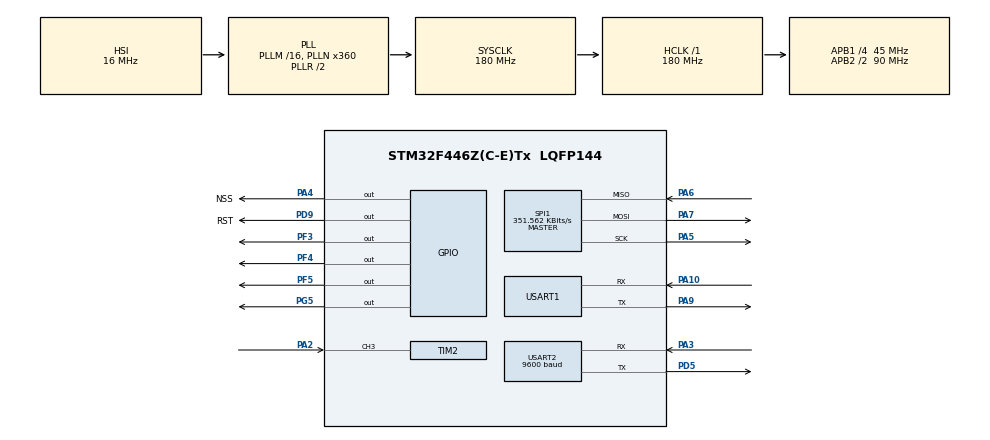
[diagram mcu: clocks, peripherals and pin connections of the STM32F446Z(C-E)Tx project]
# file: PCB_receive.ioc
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Dma.Request0=USART2_RX
Dma.Request1=USART1_TX
Dma.USART1_TX.1.Direction=DMA_MEMORY_TO_PERIPH
Dma.USART1_TX.1.FIFOMode=DMA_FIFOMODE_DISABLE
Dma.USART1_TX.1.Instance=DMA2_Stream7
Dma.USART1_TX.1.MemDataAlignment=DMA_MDATAALIGN_BYTE
Dma.USART1_TX.1.MemInc=DMA_MINC_ENABLE
Dma.USART1_TX.1.Mode=DMA_NORMAL
Dma.USART1_TX.1.PeriphDataAlignment=DMA_PDATAALIGN_BYTE
Dma.USART1_TX.1.PeriphInc=DMA_PINC_DISABLE
Dma.USART1_TX.1.Priority=DMA_PRIORITY_LOW
Dma.USART2_RX.0.Direction=DMA_PERIPH_TO_MEMORY
Dma.USART2_RX.0.FIFOMode=DMA_FIFOMODE_DISABLE
Dma.USART2_RX.0.Instance=DMA1_Stream5
Dma.USART2_RX.0.MemDataAlignment=DMA_MDATAALIGN_BYTE
Dma.USART2_RX.0.MemInc=DMA_MINC_ENABLE
Dma.USART2_RX.0.Mode=DMA_NORMAL
Dma.USART2_RX.0.PeriphDataAlignment=DMA_PDATAALIGN_BYTE
Dma.USART2_RX.0.PeriphInc=DMA_PINC_DISABLE
Dma.USART2_RX.0.Priority=DMA_PRIORITY_HIGH
Mcu.Family=STM32F4
Mcu.Name=STM32F446Z(C-E)Tx
Mcu.Package=LQFP144
NVIC.DMA1_Stream5_IRQn=true\:0\:0\:false\:false\:true\:false\:true\:true
NVIC.DMA2_Stream7_IRQn=true\:0\:0\:false\:false\:true\:false\:true\:true
NVIC.PriorityGroup=NVIC_PRIORITYGROUP_4
NVIC.TIM2_IRQn=true\:0\:0\:false\:false\:true\:true\:true\:true
NVIC.USART2_IRQn=true\:0\:0\:false\:false\:true\:true\:true\:true
PA10.Mode=Asynchronous
PA10.Signal=USART1_RX
PA13.Mode=Serial_Wire
PA13.Signal=SYS_JTMS-SWDIO
PA14.Mode=Serial_Wire
PA14.Signal=SYS_JTCK-SWCLK
PA2.Signal=S_TIM2_CH3
PA3.Mode=Asynchronous
PA3.Signal=USART2_RX
PA4.GPIO_Label=NSS
PA4.Signal=GPIO_Output
PA5.Mode=Full_Duplex_Master
PA5.Signal=SPI1_SCK
PA6.Mode=Full_Duplex_Master
PA6.Signal=SPI1_MISO
PA7.Mode=Full_Duplex_Master
PA7.Signal=SPI1_MOSI
PA9.Mode=Asynchronous
PA9.Signal=USART1_TX
PC14-OSC32_IN.Mode=LSE-External-Oscillator
PC14-OSC32_IN.Signal=RCC_OSC32_IN
PC15-OSC32_OUT.Mode=LSE-External-Oscillator
PC15-OSC32_OUT.Signal=RCC_OSC32_OUT
PD5.Mode=Asynchronous
PD5.Signal=USART2_TX
PD9.GPIO_Label=RST
PD9.Signal=GPIO_Output
PF3.Signal=GPIO_Output
PF4.Signal=GPIO_Output
PF5.Signal=GPIO_Output
PG5.Signal=GPIO_Output
PH0-OSC_IN.Mode=HSE-External-Oscillator
PH0-OSC_IN.Signal=RCC_OSC_IN
PH1-OSC_OUT.Mode=HSE-External-Oscillator
PH1-OSC_OUT.Signal=RCC_OSC_OUT
ProjectManager.HeapSize=0x200
ProjectManager.StackSize=0x400
ProjectManager.TargetToolchain=STM32CubeIDE
RCC.AHBFreq_Value=180000000
RCC.APB1CLKDivider=RCC_HCLK_DIV4
RCC.APB1Freq_Value=45000000
RCC.APB1TimFreq_Value=90000000
RCC.APB2CLKDivider=RCC_HCLK_DIV2
RCC.APB2Freq_Value=90000000
RCC.APB2TimFreq_Value=180000000
RCC.CortexFreq_Value=180000000
RCC.HCLKFreq_Value=180000000
RCC.HSE_VALUE=25000000
RCC.PLLN=360
RCC.PLLP=RCC_PLLP_DIV4
RCC.SYSCLKFreq_VALUE=180000000
RCC.SYSCLKSource=RCC_SYSCLKSOURCE_PLLRCLK
RCC.USBFreq_Value=180000000
RCC.VCOOutputFreq_Value=360000000
SH.S_TIM2_CH3.0=TIM2_CH3,Input_Capture3_from_TI3
SPI1.BaudRatePrescaler=SPI_BAUDRATEPRESCALER_256
SPI1.CalculateBaudRate=351.562 KBits/s
SPI1.Direction=SPI_DIRECTION_2LINES
SPI1.Mode=SPI_MODE_MASTER
SPI1.VirtualType=VM_MASTER
TIM2.Channel-Input_Capture3_from_TI3=TIM_CHANNEL_3
USART1.VirtualMode=VM_ASYNC
USART2.BaudRate=9600
USART2.VirtualMode=VM_ASYNC
board=custom

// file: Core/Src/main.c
/* USER CODE BEGIN Header */
/**
  ******************************************************************************
  * @file           : main.c
  * @brief          : Main program body
  ******************************************************************************
  * @attention
  *
  * Copyright (c) 2022 STMicroelectronics.
  * All rights reserved.
  *
  * This software is licensed under terms that can be found in the LICENSE file
  * in the root directory of this software component.
  * If no LICENSE file comes with this software, it is provided AS-IS.
  *
  ******************************************************************************
  */
/* USER CODE END Header */
#include "main.h"

/* USER CODE BEGIN Includes */
#include <stdio.h>
#include <stdlib.h>
#include <string.h>
#include "lora_sx1276.h"
/* USER CODE END Includes */

SPI_HandleTypeDef hspi1;

TIM_HandleTypeDef htim2;

UART_HandleTypeDef huart1;
UART_HandleTypeDef huart2;
DMA_HandleTypeDef hdma_usart1_tx;
DMA_HandleTypeDef hdma_usart2_rx;

/* USER CODE BEGIN PV */
uint8_t GPS_buffer[2048];
char buffStr[2048];
char nmeaSnt[80];
uint8_t GPS_latest_data[65];
int GPSidxint = 0;
int GPS_ready = 0;
uint32_t startGPSPadding = 0xACACACAC;
uint32_t endGPSPadding = 0xADADADAD;
/* USER CODE END PV */

void SystemClock_Config(void);
static void MX_GPIO_Init(void);
static void MX_SPI1_Init(void);
static void MX_TIM2_Init(void);
static void MX_DMA_Init(void);
static void MX_USART2_UART_Init(void);
static void MX_USART1_UART_Init(void);

/* USER CODE BEGIN 0 */
uint8_t iterfacing_success[] = "Interfacing SUCCESS";
uint8_t iterfacing_failed[] = "Interfacing FAILED";

void HAL_UART_RxCpltCallback(UART_HandleTypeDef *huart)
{
	if (huart == &huart2){
		char *string;
		memset(buffStr, 0, 2048);
		sprintf(buffStr, "%s", GPS_buffer);
		string = strdup(buffStr);

		char* token;
		while ((token = strsep(&string, "\n")) != NULL) {
			memset(nmeaSnt, 0, 80);
			sprintf(nmeaSnt, "%s\n\r", token);
			if ((strstr(nmeaSnt, "$GPGLL") != 0) && strlen(nmeaSnt) > 48 && strlen(nmeaSnt) < 65) {
				//Raw Data
				char* GPSidx = strchr(nmeaSnt, '\n');
				if (GPSidx){
					GPSidxint = GPSidx-nmeaSnt;
				}
				memset(GPS_latest_data, 0, 65);
				memcpy(GPS_latest_data, nmeaSnt, GPSidxint);
				HAL_GPIO_WritePin(GPIOF, GPIO_PIN_4, GPIO_PIN_RESET);
				GPS_ready = 1;

			}
		}
		HAL_UART_Receive_DMA(&huart2, GPS_buffer, 2048);
	}
}
/* USER CODE END 0 */

int main(void)
{

  /* MCU Configuration--------------------------------------------------------*/

  /* Reset of all peripherals, Initializes the Flash interface and the Systick. */
  HAL_Init();

  /* Configure the system clock */
  SystemClock_Config();

  /* Initialize all configured peripherals */
  MX_GPIO_Init();
  MX_SPI1_Init();
  MX_TIM2_Init();
  MX_DMA_Init();
  MX_USART2_UART_Init();
  MX_USART1_UART_Init();
  /* USER CODE BEGIN 2 */
  HAL_GPIO_WritePin(GPIOF, GPIO_PIN_4, GPIO_PIN_SET);
  HAL_GPIO_WritePin(GPIOF, GPIO_PIN_3, GPIO_PIN_SET);
  HAL_UART_Receive_DMA(&huart2, GPS_buffer, 2048);

  HAL_GPIO_WritePin(RST_GPIO_Port, RST_Pin, GPIO_PIN_RESET);
  HAL_Delay(100);
  HAL_GPIO_WritePin(RST_GPIO_Port, RST_Pin, GPIO_PIN_SET);
  lora_sx1276 lora;

  uint8_t res = lora_init(&lora, &hspi1, NSS_GPIO_Port, NSS_Pin, LORA_BASE_FREQUENCY_US);
  if (res != LORA_OK) {
	  HAL_UART_Transmit(&huart1, iterfacing_failed, sizeof(iterfacing_failed), 1000);
  }
  // Receive buffer
  uint8_t buffer[255];
  // Put LoRa modem into continuous receive mode
  lora_mode_receive_continuous(&lora);
  // Wait for packet up to 4 sec

  while (!GPS_ready);
  uint8_t GPS_data_len = (uint8_t) GPSidxint;
  uint8_t metaData[8+GPS_data_len];
  memcpy(metaData, &startGPSPadding, 4);
  memcpy(metaData+4, GPS_latest_data, GPS_data_len);
  memcpy(metaData+4+GPS_data_len, &endGPSPadding, 4);
  HAL_UART_Transmit(&huart1, metaData, 8+GPS_data_len, 1000);
  /* USER CODE END 2 */

  /* Infinite loop */
  /* USER CODE BEGIN WHILE */
  while (1)
  {
	  uint8_t len = lora_receive_packet_blocking(&lora, buffer, sizeof(buffer), 4000, &res);
	  if (res == LORA_OK) {
		  HAL_UART_Transmit(&huart1, buffer, len, 1000);
	  }
    /* USER CODE END WHILE */

  }
}

void SystemClock_Config(void)
{
  RCC_OscInitTypeDef RCC_OscInitStruct = {0};
  RCC_ClkInitTypeDef RCC_ClkInitStruct = {0};

  /** Configure the main internal regulator output voltage
  */
  __HAL_RCC_PWR_CLK_ENABLE();
  __HAL_PWR_VOLTAGESCALING_CONFIG(PWR_REGULATOR_VOLTAGE_SCALE1);
  /** Initializes the RCC Oscillators according to the specified parameters
  * in the RCC_OscInitTypeDef structure.
  */
  RCC_OscInitStruct.OscillatorType = RCC_OSCILLATORTYPE_HSI;
  RCC_OscInitStruct.HSIState = RCC_HSI_ON;
  RCC_OscInitStruct.HSICalibrationValue = RCC_HSICALIBRATION_DEFAULT;
  RCC_OscInitStruct.PLL.PLLState = RCC_PLL_ON;
  RCC_OscInitStruct.PLL.PLLSource = RCC_PLLSOURCE_HSI;
  RCC_OscInitStruct.PLL.PLLM = 16;
  RCC_OscInitStruct.PLL.PLLN = 360;
  RCC_OscInitStruct.PLL.PLLP = RCC_PLLP_DIV4;
  RCC_OscInitStruct.PLL.PLLQ = 2;
  RCC_OscInitStruct.PLL.PLLR = 2;
  if (HAL_RCC_OscConfig(&RCC_OscInitStruct) != HAL_OK)
  {
    Error_Handler();
  }
  /** Activate the Over-Drive mode
  */
  if (HAL_PWREx_EnableOverDrive() != HAL_OK)
  {
    Error_Handler();
  }
  /** Initializes the CPU, AHB and APB buses clocks
  */
  RCC_ClkInitStruct.ClockType = RCC_CLOCKTYPE_HCLK|RCC_CLOCKTYPE_SYSCLK
                              |RCC_CLOCKTYPE_PCLK1|RCC_CLOCKTYPE_PCLK2;
  RCC_ClkInitStruct.SYSCLKSource = RCC_SYSCLKSOURCE_PLLRCLK;
  RCC_ClkInitStruct.AHBCLKDivider = RCC_SYSCLK_DIV1;
  RCC_ClkInitStruct.APB1CLKDivider = RCC_HCLK_DIV4;
  RCC_ClkInitStruct.APB2CLKDivider = RCC_HCLK_DIV2;

  if (HAL_RCC_ClockConfig(&RCC_ClkInitStruct, FLASH_LATENCY_5) != HAL_OK)
  {
    Error_Handler();
  }
}

static void MX_SPI1_Init(void)
{

  /* SPI1 parameter configuration*/
  hspi1.Instance = SPI1;
  hspi1.Init.Mode = SPI_MODE_MASTER;
  hspi1.Init.Direction = SPI_DIRECTION_2LINES;
  hspi1.Init.DataSize = SPI_DATASIZE_8BIT;
  hspi1.Init.CLKPolarity = SPI_POLARITY_LOW;
  hspi1.Init.CLKPhase = SPI_PHASE_1EDGE;
  hspi1.Init.NSS = SPI_NSS_SOFT;
  hspi1.Init.BaudRatePrescaler = SPI_BAUDRATEPRESCALER_256;
  hspi1.Init.FirstBit = SPI_FIRSTBIT_MSB;
  hspi1.Init.TIMode = SPI_TIMODE_DISABLE;
  hspi1.Init.CRCCalculation = SPI_CRCCALCULATION_DISABLE;
  hspi1.Init.CRCPolynomial = 10;
  if (HAL_SPI_Init(&hspi1) != HAL_OK)
  {
    Error_Handler();
  }

}

static void MX_TIM2_Init(void)
{

  TIM_MasterConfigTypeDef sMasterConfig = {0};
  TIM_IC_InitTypeDef sConfigIC = {0};

  htim2.Instance = TIM2;
  htim2.Init.Prescaler = 0;
  htim2.Init.CounterMode = TIM_COUNTERMODE_UP;
  htim2.Init.Period = 4294967295;
  htim2.Init.ClockDivision = TIM_CLOCKDIVISION_DIV1;
  htim2.Init.AutoReloadPreload = TIM_AUTORELOAD_PRELOAD_DISABLE;
  if (HAL_TIM_IC_Init(&htim2) != HAL_OK)
  {
    Error_Handler();
  }
  sMasterConfig.MasterOutputTrigger = TIM_TRGO_RESET;
  sMasterConfig.MasterSlaveMode = TIM_MASTERSLAVEMODE_DISABLE;
  if (HAL_TIMEx_MasterConfigSynchronization(&htim2, &sMasterConfig) != HAL_OK)
  {
    Error_Handler();
  }
  sConfigIC.ICPolarity = TIM_INPUTCHANNELPOLARITY_RISING;
  sConfigIC.ICSelection = TIM_ICSELECTION_DIRECTTI;
  sConfigIC.ICPrescaler = TIM_ICPSC_DIV1;
  sConfigIC.ICFilter = 0;
  if (HAL_TIM_IC_ConfigChannel(&htim2, &sConfigIC, TIM_CHANNEL_3) != HAL_OK)
  {
    Error_Handler();
  }

}

static void MX_USART1_UART_Init(void)
{

  huart1.Instance = USART1;
  huart1.Init.BaudRate = 115200;
  huart1.Init.WordLength = UART_WORDLENGTH_8B;
  huart1.Init.StopBits = UART_STOPBITS_1;
  huart1.Init.Parity = UART_PARITY_NONE;
  huart1.Init.Mode = UART_MODE_TX_RX;
  huart1.Init.HwFlowCtl = UART_HWCONTROL_NONE;
  huart1.Init.OverSampling = UART_OVERSAMPLING_16;
  if (HAL_UART_Init(&huart1) != HAL_OK)
  {
    Error_Handler();
  }

}

static void MX_USART2_UART_Init(void)
{

  huart2.Instance = USART2;
  huart2.Init.BaudRate = 9600;
  huart2.Init.WordLength = UART_WORDLENGTH_8B;
  huart2.Init.StopBits = UART_STOPBITS_1;
  huart2.Init.Parity = UART_PARITY_NONE;
  huart2.Init.Mode = UART_MODE_TX_RX;
  huart2.Init.HwFlowCtl = UART_HWCONTROL_NONE;
  huart2.Init.OverSampling = UART_OVERSAMPLING_16;
  if (HAL_UART_Init(&huart2) != HAL_OK)
  {
    Error_Handler();
  }

}

static void MX_DMA_Init(void)
{

  /* DMA controller clock enable */
  __HAL_RCC_DMA1_CLK_ENABLE();
  __HAL_RCC_DMA2_CLK_ENABLE();

  /* DMA interrupt init */
  /* DMA1_Stream5_IRQn interrupt configuration */
  HAL_NVIC_SetPriority(DMA1_Stream5_IRQn, 0, 0);
  HAL_NVIC_EnableIRQ(DMA1_Stream5_IRQn);
  /* DMA2_Stream7_IRQn interrupt configuration */
  HAL_NVIC_SetPriority(DMA2_Stream7_IRQn, 0, 0);
  HAL_NVIC_EnableIRQ(DMA2_Stream7_IRQn);

}

static void MX_GPIO_Init(void)
{
  GPIO_InitTypeDef GPIO_InitStruct = {0};

  /* GPIO Ports Clock Enable */
  __HAL_RCC_GPIOC_CLK_ENABLE();
  __HAL_RCC_GPIOF_CLK_ENABLE();
  __HAL_RCC_GPIOH_CLK_ENABLE();
  __HAL_RCC_GPIOA_CLK_ENABLE();
  __HAL_RCC_GPIOD_CLK_ENABLE();
  __HAL_RCC_GPIOG_CLK_ENABLE();

  /*Configure GPIO pin Output Level */
  HAL_GPIO_WritePin(GPIOF, GPIO_PIN_3|GPIO_PIN_4|GPIO_PIN_5, GPIO_PIN_RESET);

  /*Configure GPIO pin Output Level */
  HAL_GPIO_WritePin(NSS_GPIO_Port, NSS_Pin, GPIO_PIN_RESET);

  /*Configure GPIO pin Output Level */
  HAL_GPIO_WritePin(RST_GPIO_Port, RST_Pin, GPIO_PIN_RESET);

  /*Configure GPIO pin Output Level */
  HAL_GPIO_WritePin(GPIOG, GPIO_PIN_5, GPIO_PIN_RESET);

  /*Configure GPIO pins : PF3 PF4 PF5 */
  GPIO_InitStruct.Pin = GPIO_PIN_3|GPIO_PIN_4|GPIO_PIN_5;
  GPIO_InitStruct.Mode = GPIO_MODE_OUTPUT_PP;
  GPIO_InitStruct.Pull = GPIO_NOPULL;
  GPIO_InitStruct.Speed = GPIO_SPEED_FREQ_LOW;
  HAL_GPIO_Init(GPIOF, &GPIO_InitStruct);

  /*Configure GPIO pin : NSS_Pin */
  GPIO_InitStruct.Pin = NSS_Pin;
  GPIO_InitStruct.Mode = GPIO_MODE_OUTPUT_PP;
  GPIO_InitStruct.Pull = GPIO_NOPULL;
  GPIO_InitStruct.Speed = GPIO_SPEED_FREQ_LOW;
  HAL_GPIO_Init(NSS_GPIO_Port, &GPIO_InitStruct);

  /*Configure GPIO pin : RST_Pin */
  GPIO_InitStruct.Pin = RST_Pin;
  GPIO_InitStruct.Mode = GPIO_MODE_OUTPUT_PP;
  GPIO_InitStruct.Pull = GPIO_NOPULL;
  GPIO_InitStruct.Speed = GPIO_SPEED_FREQ_LOW;
  HAL_GPIO_Init(RST_GPIO_Port, &GPIO_InitStruct);

  /*Configure GPIO pin : PG5 */
  GPIO_InitStruct.Pin = GPIO_PIN_5;
  GPIO_InitStruct.Mode = GPIO_MODE_OUTPUT_PP;
  GPIO_InitStruct.Pull = GPIO_NOPULL;
  GPIO_InitStruct.Speed = GPIO_SPEED_FREQ_LOW;
  HAL_GPIO_Init(GPIOG, &GPIO_InitStruct);

}

void Error_Handler(void)
{
  __disable_irq();
  while (1)
  {
  }
}
